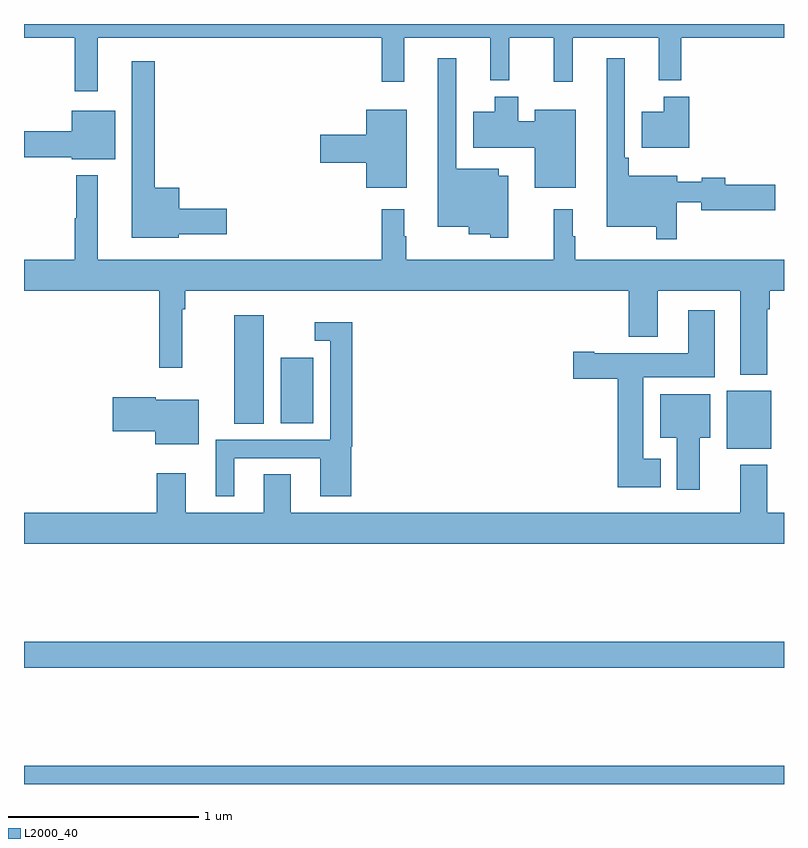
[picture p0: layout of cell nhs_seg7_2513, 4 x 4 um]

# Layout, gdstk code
import gdstk
lib = gdstk.Library(unit=1e-6, precision=1e-09)
def R(c, l, rs):  # rectangles x0, y0, x1, y1
    for r in rs: c.add(gdstk.rectangle(r[:2], r[2:], *l))
def P(c, l, *ps):  # polygons
    for p in ps: c.add(gdstk.Polygon(p, *l))
L2000_40 = (2000, 40)

nhs_seg7_2513 = lib.new_cell('nhs_seg7_2513')
R(nhs_seg7_2513, L2000_40, [(275,1018,279,1018.096), (275,1018.612,279,1018.748), (278.699,1019.765,278.932,1020.07), (276.107,1019.896,276.262,1020.466), (276.35,1019.9,276.523,1020.244)])
P(nhs_seg7_2513, L2000_40, [(275.389,1021.928),(276.883,1021.928),(276.883,1021.695),(277.001,1021.695),(277.001,1021.928),(277.454,1021.928),(277.454,1021.703),(277.554,1021.703),(277.554,1021.928),(277.789,1021.928),(277.789,1021.695),(277.889,1021.695),(277.889,1021.928),(278.342,1021.928),(278.342,1021.703),(278.459,1021.703),(278.459,1021.928),(279,1021.928),(279,1022),(275,1022),(275,1021.928),(275.268,1021.928),(275.268,1021.647),(275.389,1021.647)],
  [(278.436,1021.062),(278.564,1021.062),(278.564,1021.019),(278.953,1021.019),(278.953,1021.154),(278.692,1021.154),(278.692,1021.19),(278.568,1021.19),(278.568,1021.171),(278.437,1021.171),(278.437,1021.201),(278.183,1021.201),(278.183,1021.297),(278.163,1021.297),(278.163,1021.819),(278.066,1021.819),(278.066,1020.932),(278.328,1020.932),(278.328,1020.867),(278.436,1020.867)],
  [(277.549,1021.201),(277.498,1021.201),(277.498,1021.237),(277.275,1021.237),(277.275,1021.819),(277.178,1021.819),(277.178,1020.932),(277.34,1020.932),(277.34,1020.893),(277.455,1020.893),(277.455,1020.875),(277.549,1020.875)],
  [(275.814,1020.893),(276.067,1020.893),(276.067,1021.028),(275.818,1021.028),(275.818,1021.138),(275.689,1021.138),(275.689,1021.804),(275.567,1021.804),(275.567,1020.875),(275.814,1020.875)],
  [(277.903,1021.549),(277.688,1021.549),(277.688,1021.489),(277.6,1021.489),(277.6,1021.618),(277.478,1021.618),(277.478,1021.537),(277.364,1021.537),(277.364,1021.349),(277.688,1021.349),(277.688,1021.139),(277.903,1021.139)],
  [(278.501,1021.618),(278.366,1021.618),(278.366,1021.537),(278.252,1021.537),(278.252,1021.349),(278.501,1021.349)],
  [(277.015,1021.549),(276.8,1021.549),(276.8,1021.418),(276.558,1021.418),(276.558,1021.271),(276.8,1021.271),(276.8,1021.139),(277.015,1021.139)],
  [(275.479,1021.543),(275.252,1021.543),(275.252,1021.436),(275,1021.436),(275,1021.3),(275.252,1021.3),(275.252,1021.289),(275.479,1021.289)],
  [(278.911,1020.5),(278.924,1020.5),(278.924,1020.596),(279,1020.596),(279,1020.76),(277.9,1020.76),(277.9,1020.884),(277.888,1020.884),(277.888,1021.024),(277.789,1021.024),(277.789,1020.76),(277.012,1020.76),(277.012,1020.884),(277,1020.884),(277,1021.024),(276.883,1021.024),(276.883,1020.76),(275.389,1020.76),(275.389,1021.204),(275.275,1021.204),(275.275,1020.977),(275.268,1020.977),(275.268,1020.76),(275,1020.76),(275,1020.596),(275.713,1020.596),(275.713,1020.192),(275.834,1020.192),(275.834,1020.5),(275.849,1020.5),(275.849,1020.596),(278.183,1020.596),(278.183,1020.353),(278.335,1020.353),(278.335,1020.596),(278.771,1020.596),(278.771,1020.155),(278.911,1020.155)],
  [(278.35,1019.713),(278.26,1019.713),(278.26,1020.14),(278.635,1020.14),(278.635,1020.493),(278.495,1020.493),(278.495,1020.268),(278.002,1020.268),(278.002,1020.276),(277.89,1020.276),(277.89,1020.134),(278.126,1020.134),(278.126,1019.561),(278.35,1019.561)],
  [(276.106,1019.715),(276.56,1019.715),(276.56,1019.514),(276.722,1019.514),(276.722,1019.775),(276.728,1019.775),(276.728,1020.43),(276.531,1020.43),(276.531,1020.333),(276.612,1020.333),(276.612,1019.811),(276.008,1019.811),(276.008,1019.514),(276.106,1019.514)],
  [(278.557,1019.822),(278.611,1019.822),(278.611,1020.052),(278.348,1020.052),(278.348,1019.822),(278.435,1019.822),(278.435,1019.55),(278.557,1019.55)],
  [(275.92,1020.022),(275.694,1020.022),(275.694,1020.035),(275.466,1020.035),(275.466,1019.857),(275.69,1019.857),(275.69,1019.789),(275.92,1019.789)],
  [(279,1019.428),(278.911,1019.428),(278.911,1019.68),(278.771,1019.68),(278.771,1019.428),(276.403,1019.428),(276.403,1019.63),(276.263,1019.63),(276.263,1019.428),(275.851,1019.428),(275.851,1019.635),(275.699,1019.635),(275.699,1019.428),(275,1019.428),(275,1019.264),(279,1019.264)])

lib.write_gds('nhs_seg7_2513.gds')
